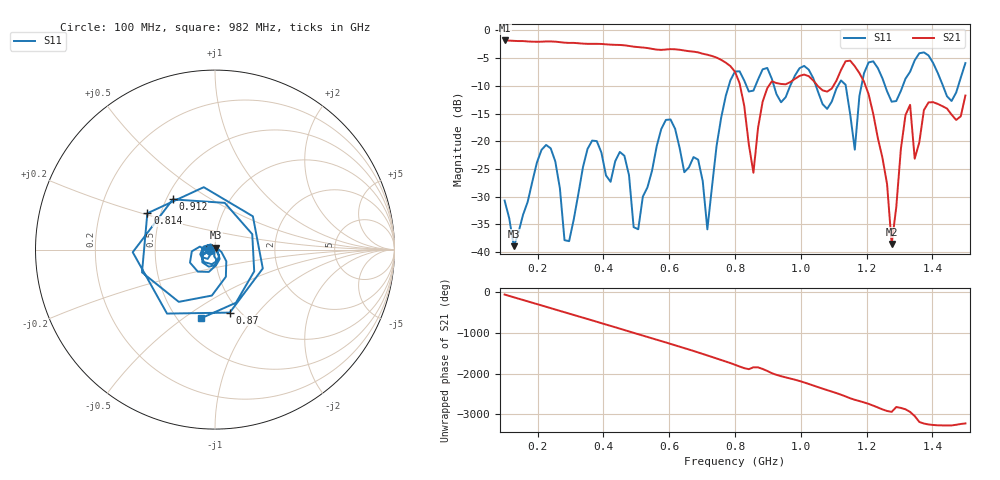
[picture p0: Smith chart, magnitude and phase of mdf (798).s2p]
! NanoVNA-App
! Date: 2025-09-25 15:44:38
! Start: 100MHz Stop: 1,5GHz Points: 101
! S-Parameter data: F S11 S21 S12 S22
# Hz S RI R 50
!  Frequency  S11_Real  S11_Imag  S21_Real  S21_Imag  S12_Real  S12_Imag  S22_Real  S22_Imag
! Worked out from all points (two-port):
!   101 points, 100 MHz to 1.5 GHz, reference 50 ohm
!   highest |S21| = -1.80 dB at 100 MHz (marker M1); lowest = -38.6 dB at 1.276 GHz (marker M2)
!   |S21| within 3 dB of the highest: start of sweep to 739.5 MHz
!   lowest |S11| = -39.0 dB at 128 MHz (marker M3), VSWR 1.02, Z = 50.3 + j1.08 ohm
!   |S11| at or under -10 dB: start of sweep to 781.1 MHz; 1.046 GHz to 1.113 GHz (66.9 MHz wide, 6.2 % of centre); 1.256 GHz to 1.31 GHz (53.72 MHz wide, 4.19 % of centre) (the widest 3 of 7)
!   S12 and S22 are empty: the file has one direction only
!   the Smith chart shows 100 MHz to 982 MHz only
!   S11 on the Smith chart (normalised r, x): 100 MHz: 0.94, -0.01; 814 MHz: 0.42, +0.21; 870 MHz: 0.90, -0.73; 912 MHz: 0.54, +0.35; 982 MHz: 0.65, -0.59
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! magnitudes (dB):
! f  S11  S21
! 100 MHz  -30.7  -1.8
! 128 MHz  -39.0  -1.9
! 212 MHz  -21.6  -2.0
! 282 MHz  -37.9  -2.2
! 338 MHz  -24.7  -2.4
! 464 MHz  -22.6  -2.7
! 506 MHz  -35.9  -3.0
! 576 MHz  -17.8  -3.5
! 716 MHz  -35.9  -4.4
! 800 MHz  -7.4  -7.5
! 814 MHz  -7.4  -9.6
! 856 MHz  -10.9  -25.7
! 870 MHz  -8.9  -17.6
! 912 MHz  -8.7  -9.2
! 982 MHz  -8.2  -8.7
! 1.038 GHz  -8.6  -9.0
! 1.164 GHz  -21.5  -6.5
! 1.192 GHz  -7.7  -9.2
! 1.276 GHz  -12.9  -38.6
! 1.332 GHz  -7.5  -13.4
! 1.346 GHz  -5.4  -23.2
! 1.5 GHz  -5.9  -11.7
